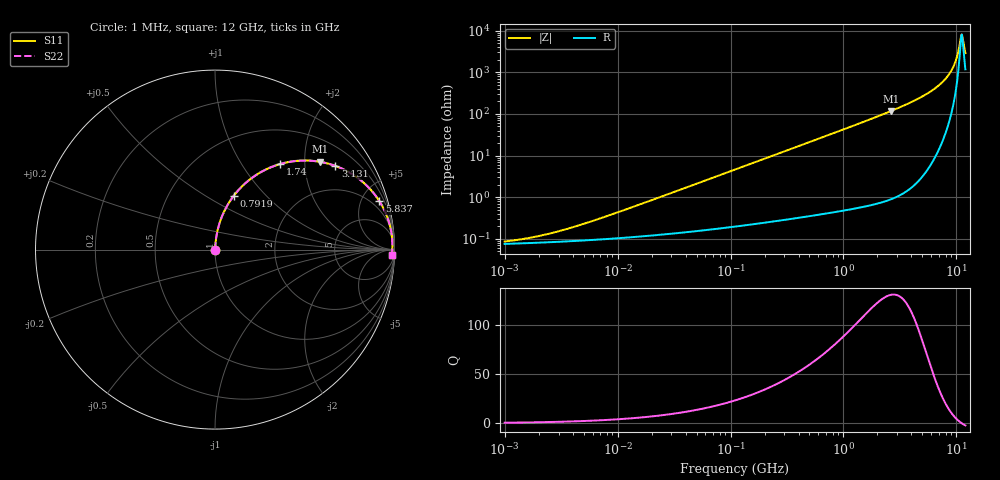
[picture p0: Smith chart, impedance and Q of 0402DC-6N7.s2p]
# MHz  S  MA  R  50
!Freq  MagS11  AngS11  MagS21  AngS21  MagS12  AngS12  MagS22  AngS22
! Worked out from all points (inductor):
!   801 points, 1 MHz to 12 GHz, reference 50 ohm
!   read as one part in series: L = 6.7 nH near 6.951 MHz
!   highest Q = 131 at 2.656 GHz (marker M1), where L = 7.11 nH
!   self-resonance near 11.01 GHz
!   S11 on the Smith chart (normalised r, x): 1 MHz: 1.00, +0.00; 791.9 MHz: 1.01, +0.67; 1.74 GHz: 1.01, +1.50; 3.131 GHz: 1.02, +2.86; 5.837 GHz: 1.11, +6.78; 12 GHz: 25, -53
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1  0.0008668 29.0  0.9992 -0.0  0.9992 -0.0  0.0008668 29.0
2.121332  0.001209 47.5  0.9992 -0.1  0.9992 -0.1  0.001209 47.5
4.828773  0.002226 65.7  0.9991 -0.1  0.9991 -0.1  0.002226 65.7
23.04466  0.009768 82.1  0.9987 -0.6  0.9987 -0.6  0.009768 82.1
109.9775  0.0462 84.9  0.997 -2.6  0.997 -2.6  0.0462 84.9
259.3234  0.1083 82.4  0.9914 -6.2  0.9914 -6.2  0.1083 82.4
524.8526  0.2155 76.6  0.973 -12.4  0.973 -12.4  0.2155 76.6
791.8655  0.3165 70.8  0.9445 -18.4  0.9445 -18.4  0.3165 70.8
1180.762  0.4473 62.8  0.8898 -26.6  0.8898 -26.6  0.4473 62.8
1740.082  0.598 52.8  0.7964 -36.7  0.7964 -36.7  0.598 52.8
2534.394  0.7447 41.4  0.6617 -48.1  0.6617 -48.1  0.7447 41.4
2656.361  0.7616 40.0  0.6422 -49.6  0.6422 -49.6  0.7616 40.0
3131.359  0.8169 34.8  0.5706 -54.8  0.5706 -54.8  0.8169 34.8
4402.784  0.9069 24.4  0.4127 -65.1  0.4127 -65.1  0.9069 24.4
5837.213  0.9548 16.4  0.2817 -72.7  0.2817 -72.7  0.9548 16.4
7383.644  0.9782 10.1  0.1763 -77.8  0.1763 -77.8  0.9782 10.1
8806.831  0.9869 5.7  0.09995 -79.6  0.09995 -79.6  0.9869 5.7
9789.24  0.9888 3.1  0.05537 -76.8  0.05537 -76.8  0.9888 3.1
10754.12  0.9884 0.8  0.01873 -51.3  0.01873 -51.3  0.9884 0.8
11009.85  0.988 0.3  0.01295 -22.0  0.01295 -22.0  0.988 0.3
11404.9  0.9872 -0.6  0.01614 37.2  0.01614 37.2  0.9872 -0.6
12000  0.9855 -1.8  0.03419 64.0  0.03419 64.0  0.9855 -1.8
